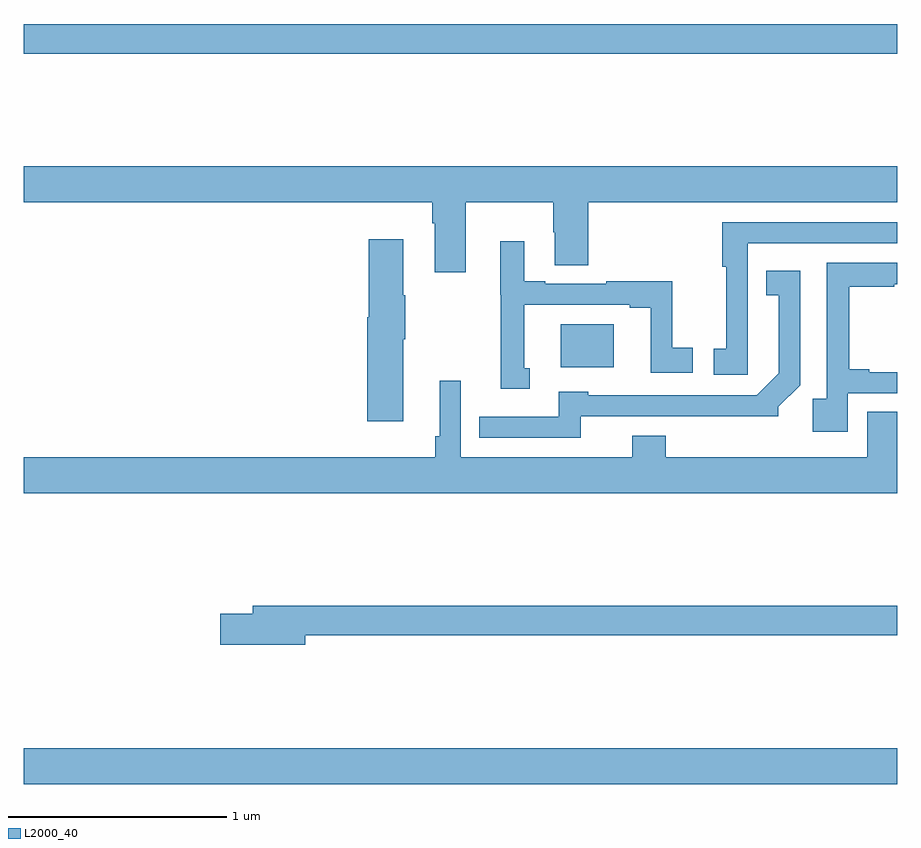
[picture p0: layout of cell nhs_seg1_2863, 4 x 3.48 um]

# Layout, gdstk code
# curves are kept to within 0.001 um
import gdstk
lib = gdstk.Library(unit=1e-6, precision=1e-09)
def R(c, l, rs):  # rectangles x0, y0, x1, y1
    for r in rs: c.add(gdstk.rectangle(r[:2], r[2:], *l))
def P(c, l, *ps):  # polygons
    for p in ps: c.add(gdstk.Polygon(p, *l))
L2000_40 = (2000, 40)

nhs_seg1_2863 = lib.new_cell('nhs_seg1_2863')
R(nhs_seg1_2863, L2000_40, [(267,510.44,271,510.604), (269.459,512.348,269.701,512.545), (267,513.784,271,513.92)])
P(nhs_seg1_2863, L2000_40, [(269.023,513.104),(269.425,513.104),(269.425,512.966),(269.432,512.966),(269.432,512.815),(269.585,512.815),(269.585,513.104),(271,513.104),(271,513.268),(267,513.268),(267,513.104),(268.871,513.104),(268.871,513.008),(268.883,513.008),(268.883,512.784),(269.023,512.784)],
  [(270.316,512.588),(270.315,512.588),(270.315,512.916),(271,512.916),(271,513.012),(270.199,513.012),(270.199,512.809),(270.217,512.809),(270.217,512.433),(270.159,512.433),(270.159,512.313),(270.316,512.313)],
  [(268.738,512.477),(268.746,512.477),(268.746,512.677),(268.738,512.677),(268.738,512.935),(268.58,512.935),(268.58,512.577),(268.574,512.577),(268.574,512.1),(268.738,512.1)],
  [(269.317,512.343),(269.293,512.343),(269.293,512.634),(269.774,512.634),(269.774,512.621),(269.87,512.621),(269.87,512.322),(270.064,512.322),(270.064,512.438),(269.97,512.438),(269.97,512.743),(269.668,512.743),(269.668,512.73),(269.389,512.73),(269.389,512.743),(269.293,512.743),(269.293,512.926),(269.183,512.926),(269.183,512.681),(269.184,512.681),(269.184,512.249),(269.317,512.249)],
  [(270.774,512.229),(271,512.229),(271,512.325),(270.871,512.325),(270.871,512.338),(270.779,512.338),(270.779,512.718),(270.986,512.718),(270.986,512.729),(271,512.729),(271,512.826),(270.678,512.826),(270.678,512.203),(270.613,512.203),(270.613,512.052),(270.774,512.052)],
  [(269.55,512.124),(270.456,512.123),(270.456,512.167),(270.555,512.266),(270.555,512.791),(270.4,512.791),(270.4,512.678),(270.458,512.678),(270.458,512.321),(270.357,512.22),(269.586,512.22),(269.586,512.236),(269.45,512.236),(269.45,512.121),(269.086,512.121),(269.086,512.025),(269.55,512.025)],
  [(269.786,512.035),(269.786,511.936),(269.001,511.936),(269.001,512.287),(268.904,512.287),(268.904,512.032),(268.885,512.032),(268.885,511.936),(267,511.936),(267,511.772),(271,511.772),(271,512.144),(270.863,512.144),(270.863,511.936),(269.939,511.936),(269.939,512.035)],
  [(268.288,511.12),(271,511.12),(271,511.256),(268.049,511.256),(268.049,511.22),(267.9,511.22),(267.9,511.078),(268.288,511.078)])

lib.write_gds('nhs_seg1_2863.gds')
